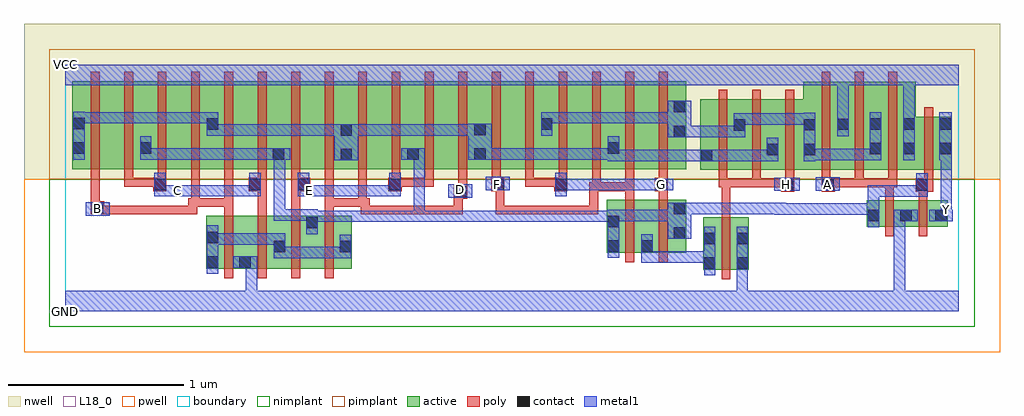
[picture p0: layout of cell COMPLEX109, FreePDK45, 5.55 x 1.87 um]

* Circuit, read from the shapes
.subckt COMPLEX109 A B C D E F G GND H VCC Y
M1 GND B n1 VSUBS nfet w=0.3u l=0.05u
M2 n1 C GND VSUBS nfet w=0.3u l=0.05u
M3 n2 E n1 VSUBS nfet w=0.3u l=0.05u
M4 n1 D n2 VSUBS nfet w=0.3u l=0.05u
M5 n3 F n2 VSUBS nfet w=0.3u l=0.05u
M6 n2 G n3 VSUBS nfet w=0.3u l=0.05u
M7 GND H n3 VSUBS nfet w=0.3u l=0.05u
M8 GND A n2 VSUBS nfet w=0.15u l=0.05u
M9 Y n2 GND VSUBS nfet w=0.15u l=0.05u
M10 n4 B n5 n6 pfet w=0.5u l=0.05u
M11 n2 C n4 n6 pfet w=0.5u l=0.05u
M12 n7 C n2 n6 pfet w=0.5u l=0.05u
M13 n5 B n7 n6 pfet w=0.5u l=0.05u
M14 n8 B n5 n6 pfet w=0.5u l=0.05u
M15 n2 C n8 n6 pfet w=0.5u l=0.05u
M16 n9 E n2 n6 pfet w=0.5u l=0.05u
M17 n5 D n9 n6 pfet w=0.5u l=0.05u
M18 n10 D n5 n6 pfet w=0.5u l=0.05u
M19 n2 E n10 n6 pfet w=0.5u l=0.05u
M20 n11 E n2 n6 pfet w=0.5u l=0.05u
M21 n5 D n11 n6 pfet w=0.5u l=0.05u
M22 n12 F n5 n6 pfet w=0.5u l=0.05u
M23 n13 G n12 n6 pfet w=0.5u l=0.05u
M24 n14 G n13 n6 pfet w=0.5u l=0.05u
M25 n5 F n14 n6 pfet w=0.5u l=0.05u
M26 n15 F n5 n6 pfet w=0.5u l=0.05u
M27 n13 G n15 n6 pfet w=0.5u l=0.05u
M28 n13 H n5 n6 pfet w=0.4u l=0.05u m=3
M29 VCC A n13 n6 pfet w=0.5u l=0.05u m=3
M30 Y n2 VCC n6 pfet w=0.3u l=0.05u
.ends

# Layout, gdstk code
import gdstk
lib = gdstk.Library(unit=1e-6, precision=1e-09)
def R(c, l, rs):  # rectangles x0, y0, x1, y1
    for r in rs: c.add(gdstk.rectangle(r[:2], r[2:], *l))
def A(c, l, x, y, w, h, nx, ny, dx, dy):  # array of equal rectangles
    R(c, l, [(x+i*dx, y+j*dy, x+i*dx+w, y+j*dy+h) for i in range(nx) for j in range(ny)])
active = (1, 0)
pwell = (2, 0)
nwell = (3, 0)
nimplant = (4, 0)
pimplant = (5, 0)
poly = (9, 0)
contact = (10, 0)
metal1 = (11, 0)
L18_0 = (18, 0)
boundary = (235, 0)

complex109 = lib.new_cell('COMPLEX109')
A(complex109, active, 0.04, 0.807, 0.225, 0.5, 3, 1, 0.38, 0)
A(complex109, active, 0.8, 0.807, 0.075, 0.393, 3, 1, 0.76, 0)
A(complex109, active, 1.405, 0.807, 0.23, 0.5, 5, 1, 0.38, 0)
A(complex109, active, 1.56, 0.807, 0.225, 0.5, 5, 1, 0.38, 0)
R(complex109, active, [(3.627,0.235,3.702,0.535), (3.627,0.235,3.887,0.535), (3.812,0.235,3.887,0.535), (0.8,0.242,0.875,0.542), (0.8,0.242,1.06,0.542), (0.985,0.242,1.255,0.542), (0.985,0.242,1.06,0.392), (1.18,0.242,1.44,0.542), (1.18,0.242,1.255,0.497), (1.365,0.242,1.63,0.542), (1.555,0.242,1.63,0.542), (1.365,0.33,1.44,0.542), (3.08,0.332,3.155,0.632), (3.08,0.332,3.345,0.632), (3.27,0.332,3.53,0.632), (3.27,0.332,3.345,0.407), (3.455,0.332,3.53,0.632), (4.557,0.48,4.817,0.63), (4.742,0.48,5.017,0.63), (4.942,0.482,5.017,0.63), (4.557,0.507,4.632,0.63), (4.742,0.507,4.817,0.63), (3.61,0.805,3.685,1.07), (3.61,0.805,3.87,1.205), (3.795,0.805,3.87,1.2), (3.795,0.805,4.06,1.205), (3.985,0.805,4.27,1.205), (3.985,0.805,4.06,1.07), (4.195,0.805,4.46,1.305), (4.195,0.805,4.27,1.2), (4.385,0.805,4.46,1.305), (4.385,0.805,4.645,1.305), (4.57,0.805,4.835,1.305), (4.57,0.805,4.645,1.2), (4.76,0.805,5.04,1.105), (4.76,0.805,4.835,1.305), (4.965,0.805,5.04,1.105), (0.04,0.807,0.145,1.2), (0.265,0.807,0.495,1.307), (0.42,0.807,0.495,1.07), (0.645,0.807,0.875,1.307), (1.025,0.807,1.25,1.307), (1.175,0.807,1.25,1.07), (1.175,0.807,1.405,1.307), (1.94,0.807,2.015,1.07), (2.7,0.807,2.775,1.2), (3.08,0.807,3.155,1.07), (3.305,0.807,3.53,1.307), (3.455,0.807,3.53,1.2)])
R(complex109, pwell, [(-0.235,-0.235,5.315,0.75)])
R(complex109, nwell, [(-0.235,0.75,5.315,1.635)])
R(complex109, nimplant, [(-0.09,-0.09,5.17,0.75)])
R(complex109, pimplant, [(-0.09,0.75,5.17,1.49)])
A(complex109, poly, 0.905, 0.187, 0.05, 0.41, 4, 1, 0.19, 0)
A(complex109, poly, 3.715, 0.705, 0.05, 0.095, 3, 1, 0.19, 0)
A(complex109, poly, 4.3, 0.705, 0.05, 0.095, 3, 1, 0.19, 0)
A(complex109, poly, 2.425, 0.707, 0.05, 0.095, 3, 1, 0.19, 0)
A(complex109, poly, 3.715, 0.75, 0.05, 0.51, 3, 1, 0.19, 0)
A(complex109, poly, 4.3, 0.75, 0.05, 0.61, 3, 1, 0.19, 0)
A(complex109, poly, 0.145, 0.752, 0.05, 0.61, 18, 1, 0.19, 0)
R(complex109, poly, [(3.732,0.18,3.782,0.59), (3.185,0.277,3.235,0.687), (3.375,0.277,3.425,0.687), (4.662,0.425,4.712,0.685), (4.852,0.425,4.902,0.685), (3.732,0.54,3.782,0.755), (0.905,0.547,0.955,0.642), (1.095,0.547,1.145,0.732), (1.285,0.547,1.335,0.732), (1.475,0.547,1.525,0.642), (0.145,0.55,0.22,0.625), (0.17,0.55,0.22,0.6), (0.17,0.55,0.22,0.6), (0.17,0.55,0.22,0.6), (0.17,0.55,0.22,0.6), (0.17,0.55,0.22,0.6), (0.17,0.55,0.22,0.6), (0.17,0.55,0.352,0.6), (0.302,0.55,0.352,0.6), (0.302,0.55,0.617,0.6), (0.567,0.55,0.617,0.6), (0.567,0.55,0.617,0.6), (0.567,0.55,0.617,0.6), (0.567,0.55,0.75,0.6), (0.7,0.55,0.75,0.6), (0.7,0.55,0.75,0.6), (0.7,0.55,0.75,0.6), (0.7,0.55,0.75,0.6), (0.7,0.55,0.75,0.6), (0.7,0.55,0.75,0.642), (1.68,0.55,1.73,0.6), (1.68,0.55,1.73,0.6), (1.68,0.55,1.73,0.6), (1.68,0.55,1.862,0.6), (1.68,0.55,1.73,0.642), (1.812,0.55,1.862,0.6), (1.812,0.55,2.127,0.6), (2.077,0.55,2.127,0.6), (2.077,0.55,2.127,0.6), (2.077,0.55,2.127,0.6), (2.077,0.55,2.26,0.6), (2.21,0.55,2.26,0.6), (2.21,0.55,2.26,0.6), (2.21,0.55,2.26,0.6), (2.21,0.55,2.26,0.6), (2.21,0.55,2.26,0.6), (2.21,0.55,2.26,0.69), (2.447,0.55,2.497,0.6), (2.447,0.55,2.497,0.6), (2.447,0.55,2.497,0.6), (2.447,0.55,2.497,0.732), (2.447,0.55,2.665,0.6), (2.615,0.55,2.665,0.6), (2.615,0.55,2.665,0.6), (2.615,0.55,2.665,0.6), (2.615,0.55,2.797,0.6), (2.747,0.55,2.797,0.6), (2.747,0.55,3.03,0.6), (2.98,0.55,3.03,0.6), (2.98,0.55,3.03,0.6), (2.98,0.55,3.03,0.6), (2.98,0.55,3.03,0.732), (0.145,0.575,0.195,0.802), (0.7,0.592,0.765,0.642), (0.715,0.592,0.955,0.642), (0.715,0.592,0.765,0.802), (0.905,0.592,0.955,0.642), (0.905,0.592,0.955,0.642), (0.905,0.592,0.955,0.642), (0.905,0.592,0.955,0.802), (1.475,0.592,1.525,0.642), (1.475,0.592,1.525,0.642), (1.475,0.592,1.525,0.642), (1.475,0.592,1.715,0.642), (1.475,0.592,1.525,0.802), (1.665,0.592,1.715,0.642), (1.665,0.592,1.715,0.642), (1.665,0.592,1.73,0.642), (1.665,0.592,1.715,0.802), (4.662,0.635,4.712,0.755), (4.852,0.635,4.902,0.73), (3.185,0.637,3.235,0.732), (3.375,0.637,3.425,0.732), (2.21,0.64,2.285,0.715), (2.235,0.665,2.285,0.802), (4.07,0.68,4.145,0.755), (4.3,0.68,4.375,0.755), (4.835,0.68,4.935,0.755), (0.5,0.682,0.575,0.757), (1.042,0.682,1.145,0.757), (1.285,0.682,1.392,0.757), (1.837,0.682,1.912,0.757), (2.422,0.682,2.497,0.757), (2.447,0.682,2.497,0.732), (2.447,0.682,2.497,0.732), (2.78,0.682,2.855,0.757), (2.98,0.682,3.03,0.732), (2.98,0.682,3.03,0.732), (2.98,0.682,3.045,0.732), (2.995,0.682,3.045,0.802), (2.995,0.682,3.235,0.732), (3.185,0.682,3.235,0.802), (3.185,0.682,3.235,0.732), (3.185,0.682,3.235,0.732), (3.185,0.682,3.235,0.732), (3.352,0.682,3.427,0.757), (3.715,0.705,3.782,0.755), (3.732,0.705,3.955,0.755), (3.905,0.705,3.955,0.755), (3.905,0.705,3.955,0.755), (3.905,0.705,3.955,0.755), (3.905,0.705,4.12,0.755), (4.07,0.705,4.12,0.755), (4.07,0.705,4.12,0.755), (4.325,0.705,4.54,0.755), (4.49,0.705,4.54,0.755), (4.49,0.705,4.54,0.755), (4.49,0.705,4.54,0.755), (4.49,0.705,4.712,0.755), (4.662,0.705,4.712,0.755), (4.662,0.705,4.712,0.755), (4.662,0.705,4.73,0.755), (4.885,0.705,4.935,0.8), (0.335,0.707,0.385,0.802), (0.335,0.707,0.385,0.757), (0.335,0.707,0.55,0.757), (0.5,0.707,0.55,0.757), (0.5,0.707,0.55,0.757), (0.525,0.707,0.575,0.802), (1.095,0.707,1.145,0.802), (1.285,0.707,1.335,0.802), (1.855,0.707,1.905,0.802), (1.862,0.707,1.912,0.757), (1.862,0.707,1.912,0.757), (1.862,0.707,2.095,0.757), (2.045,0.707,2.095,0.802), (2.045,0.707,2.095,0.757), (2.615,0.707,2.665,0.757), (2.615,0.707,2.665,0.757), (2.615,0.707,2.665,0.757), (2.615,0.707,2.83,0.757), (3.375,0.707,3.425,0.802), (4.885,0.75,4.935,1.16)])
R(complex109, contact, [(3.632,0.24,3.697,0.305), (3.817,0.24,3.882,0.305), (0.805,0.247,0.87,0.312), (0.99,0.247,1.055,0.312), (1.185,0.335,1.25,0.4), (1.56,0.335,1.625,0.4), (3.085,0.337,3.15,0.402), (3.275,0.337,3.34,0.402), (3.632,0.38,3.697,0.445), (3.817,0.38,3.882,0.445), (0.805,0.387,0.87,0.452), (3.46,0.412,3.525,0.477), (1.37,0.472,1.435,0.537), (3.085,0.477,3.15,0.542), (4.562,0.512,4.627,0.577), (4.747,0.512,4.812,0.577), (4.947,0.512,5.012,0.577), (3.46,0.552,3.525,0.617), (0.15,0.555,0.215,0.62), (2.215,0.645,2.28,0.71), (4.075,0.685,4.14,0.75), (4.305,0.685,4.37,0.75), (4.84,0.685,4.905,0.75), (0.505,0.687,0.57,0.752), (1.047,0.687,1.112,0.752), (1.322,0.687,1.387,0.752), (1.842,0.687,1.907,0.752), (2.427,0.687,2.492,0.752), (2.785,0.687,2.85,0.752), (3.357,0.687,3.422,0.752), (3.615,0.852,3.68,0.917), (1.565,0.857,1.63,0.922), (1.18,0.86,1.245,0.925), (1.945,0.86,2.01,0.925), (2.325,0.86,2.39,0.925), (3.99,0.887,4.055,0.952), (4.2,0.887,4.265,0.952), (4.575,0.892,4.64,0.957), (4.765,0.892,4.83,0.957), (4.97,0.892,5.035,0.957), (0.045,0.895,0.11,0.96), (0.425,0.895,0.49,0.96), (3.085,0.895,3.15,0.96), (3.46,0.99,3.525,1.055), (1.565,0.997,1.63,1.062), (2.325,1,2.39,1.065), (3.8,1.025,3.865,1.09), (4.2,1.027,4.265,1.092), (4.39,1.03,4.455,1.095), (0.805,1.032,0.87,1.097), (2.705,1.032,2.77,1.097), (4.575,1.032,4.64,1.097), (4.765,1.032,4.83,1.097), (4.97,1.032,5.035,1.097), (0.045,1.035,0.11,1.1), (3.46,1.13,3.525,1.195)])
R(complex109, metal1, [(0,0,5.08,0.115), (1.025,0.05,1.09,0.115), (1.025,0.05,1.09,0.115), (1.025,0.05,1.09,0.115), (1.025,0.05,1.09,0.115), (1.025,0.05,1.09,0.312), (3.817,0.05,3.882,0.115), (3.817,0.05,3.882,0.115), (3.817,0.05,3.882,0.27), (4.712,0.05,4.777,0.115), (4.712,0.05,4.777,0.115), (4.712,0.05,4.777,0.577), (3.632,0.205,3.697,0.48), (3.817,0.205,3.882,0.27), (3.817,0.205,3.882,0.27), (3.817,0.205,3.882,0.48), (0.805,0.212,0.87,0.487), (0.955,0.247,1.09,0.312), (3.275,0.275,3.685,0.34), (3.275,0.275,3.34,0.367), (3.62,0.275,3.685,0.34), (3.62,0.275,3.697,0.34), (1.185,0.3,1.25,0.435), (1.185,0.3,1.457,0.365), (1.392,0.3,1.457,0.365), (1.392,0.3,1.457,0.365), (1.392,0.3,1.457,0.365), (1.392,0.3,1.625,0.365), (1.56,0.3,1.625,0.365), (1.56,0.3,1.625,0.365), (1.56,0.3,1.625,0.435), (3.085,0.302,3.15,0.577), (3.275,0.302,3.34,0.367), (3.275,0.302,3.34,0.437), (1.185,0.37,1.25,0.435), (1.185,0.37,1.25,0.442), (0.805,0.377,0.87,0.442), (0.805,0.377,0.87,0.442), (0.805,0.377,1.02,0.442), (0.955,0.377,1.02,0.442), (0.955,0.377,1.25,0.442), (3.425,0.412,3.56,0.617), (1.37,0.437,1.435,0.572), (4.562,0.477,4.627,0.612), (1.37,0.507,1.435,0.572), (1.37,0.507,1.435,0.58), (1.37,0.507,1.595,0.572), (1.53,0.507,1.595,0.572), (1.53,0.507,1.595,0.572), (1.53,0.507,1.595,0.572), (1.53,0.507,1.77,0.572), (1.705,0.507,1.77,0.572), (1.705,0.507,1.837,0.572), (1.772,0.507,1.837,0.572), (1.772,0.507,1.907,0.572), (1.842,0.507,1.907,0.572), (1.842,0.507,2.045,0.572), (1.98,0.507,2.045,0.572), (1.98,0.507,2.045,0.572), (1.98,0.507,2.045,0.572), (1.98,0.507,2.182,0.572), (1.98,0.507,2.045,0.925), (2.117,0.507,2.182,0.572), (2.117,0.507,2.182,0.572), (2.117,0.507,2.182,0.572), (2.117,0.507,2.32,0.572), (2.255,0.507,2.32,0.572), (2.255,0.507,2.32,0.572), (2.255,0.507,2.32,0.572), (2.255,0.507,2.562,0.572), (2.497,0.507,2.562,0.572), (2.497,0.507,2.562,0.572), (2.497,0.507,2.562,0.572), (2.497,0.507,2.875,0.572), (2.81,0.507,2.875,0.572), (2.81,0.507,2.875,0.572), (2.81,0.507,2.875,0.572), (2.81,0.507,3.012,0.572), (2.947,0.507,3.012,0.572), (2.947,0.507,3.012,0.572), (2.947,0.507,3.012,0.572), (2.947,0.507,3.15,0.572), (3.085,0.512,3.15,0.577), (3.085,0.512,3.15,0.577), (3.085,0.512,3.352,0.577), (3.287,0.512,3.352,0.577), (3.287,0.512,3.352,0.577), (3.287,0.512,3.352,0.577), (3.287,0.512,3.49,0.577), (4.712,0.512,4.777,0.577), (4.712,0.512,4.777,0.577), (4.712,0.512,4.777,0.577), (4.712,0.512,4.777,0.577), (4.712,0.512,4.847,0.577), (4.912,0.512,5.047,0.577), (4.977,0.512,5.042,0.577), (4.977,0.512,5.042,0.647), (1.185,0.515,1.25,0.58), (1.185,0.515,1.435,0.58), (1.185,0.515,1.25,0.925), (0.115,0.542,0.252,0.62), (4.032,0.547,4.097,0.612), (4.032,0.547,4.097,0.612), (4.032,0.547,4.235,0.612), (4.032,0.547,4.097,0.617), (4.17,0.547,4.235,0.612), (4.17,0.547,4.235,0.612), (4.17,0.547,4.235,0.612), (4.17,0.547,4.402,0.612), (4.337,0.547,4.402,0.612), (4.337,0.547,4.402,0.612), (4.337,0.547,4.402,0.612), (4.337,0.547,4.627,0.612), (4.562,0.547,4.627,0.715), (3.495,0.552,3.56,0.617), (3.495,0.552,3.56,0.617), (3.495,0.552,3.822,0.617), (3.757,0.552,3.822,0.617), (3.757,0.552,3.865,0.617), (3.8,0.552,3.865,0.617), (3.8,0.552,3.96,0.617), (3.895,0.552,3.96,0.617), (3.895,0.552,4.097,0.617), (4.977,0.582,5.042,0.922), (2.177,0.645,2.315,0.722), (4.562,0.65,4.627,0.715), (4.562,0.65,4.627,0.715), (4.562,0.65,4.627,0.715), (4.562,0.65,4.765,0.715), (4.7,0.65,4.765,0.715), (4.7,0.65,4.905,0.715), (4.84,0.65,4.905,0.785), (0.505,0.652,0.57,0.787), (0.505,0.652,0.637,0.717), (0.572,0.652,0.707,0.717), (0.642,0.652,0.707,0.717), (0.642,0.652,0.707,0.717), (0.642,0.652,0.882,0.717), (0.817,0.652,0.882,0.717), (0.817,0.652,0.882,0.717), (0.817,0.652,0.882,0.717), (0.817,0.652,1.02,0.717), (0.955,0.652,1.02,0.717), (0.955,0.652,1.112,0.717), (1.047,0.652,1.112,0.787), (1.322,0.652,1.387,0.717), (1.322,0.652,1.387,0.787), (1.322,0.652,1.457,0.717), (1.392,0.652,1.632,0.717), (1.567,0.652,1.632,0.717), (1.567,0.652,1.632,0.717), (1.567,0.652,1.632,0.717), (1.567,0.652,1.77,0.717), (1.705,0.652,1.77,0.717), (1.705,0.652,1.802,0.717), (1.737,0.652,1.802,0.717), (1.737,0.652,1.907,0.717), (1.842,0.652,1.907,0.787), (2.785,0.652,2.85,0.787), (4.032,0.685,4.175,0.757), (4.267,0.685,4.405,0.762), (2.392,0.687,2.527,0.765), (2.785,0.687,3.012,0.752), (2.947,0.687,3.012,0.752), (2.947,0.687,3.012,0.752), (2.947,0.687,3.012,0.752), (2.947,0.687,3.15,0.752), (3.085,0.687,3.15,0.752), (3.085,0.687,3.15,0.752), (3.085,0.687,3.15,0.752), (3.085,0.687,3.287,0.752), (3.222,0.687,3.287,0.752), (3.222,0.687,3.387,0.752), (3.322,0.687,3.457,0.752), (3.085,0.852,3.352,0.917), (3.085,0.852,3.15,0.925), (3.287,0.852,3.352,0.917), (3.287,0.852,3.352,0.917), (3.287,0.852,3.352,0.917), (3.287,0.852,3.645,0.917), (3.58,0.852,3.645,0.917), (3.58,0.852,3.645,0.917), (3.58,0.852,3.715,0.917), (3.65,0.852,3.822,0.917), (3.757,0.852,3.822,0.917), (3.757,0.852,3.852,0.917), (3.787,0.852,3.852,0.917), (3.787,0.852,3.96,0.917), (3.895,0.852,3.96,0.917), (3.895,0.852,4.055,0.917), (3.99,0.852,4.055,0.987), (4.2,0.852,4.265,1.127), (1.53,0.857,1.665,1.062), (4.2,0.857,4.265,0.922), (4.2,0.857,4.265,0.922), (4.2,0.857,4.49,0.922), (4.425,0.857,4.49,0.922), (4.425,0.857,4.49,0.922), (4.425,0.857,4.49,0.922), (4.425,0.857,4.64,0.922), (4.575,0.857,4.64,1.132), (4.765,0.857,4.83,1.132), (4.97,0.857,5.042,1.132), (0.045,0.86,0.11,1.135), (0.425,0.86,0.49,0.925), (0.425,0.86,0.49,0.925), (0.425,0.86,0.49,0.995), (0.425,0.86,0.732,0.925), (0.667,0.86,0.732,0.925), (0.667,0.86,0.732,0.925), (0.667,0.86,0.732,0.925), (0.667,0.86,0.882,0.925), (0.817,0.86,0.882,0.925), (0.817,0.86,0.882,0.925), (0.817,0.86,0.882,0.925), (0.817,0.86,1.02,0.925), (0.955,0.86,1.02,0.925), (0.955,0.86,1.02,0.925), (0.955,0.86,1.02,0.925), (0.955,0.86,1.21,0.925), (1.145,0.86,1.28,0.925), (1.185,0.86,1.25,0.925), (1.185,0.86,1.25,0.925), (1.91,0.86,2.045,0.925), (1.98,0.86,2.045,0.925), (1.98,0.86,2.045,0.925), (2.29,0.86,2.425,1.065), (2.36,0.86,2.425,0.925), (2.36,0.86,2.425,0.925), (2.36,0.86,2.632,0.925), (2.567,0.86,2.632,0.925), (2.567,0.86,2.632,0.925), (2.567,0.86,2.632,0.925), (2.567,0.86,2.77,0.925), (2.705,0.86,2.77,0.925), (2.705,0.86,2.77,0.925), (2.705,0.86,2.77,0.925), (2.705,0.86,3.012,0.925), (2.947,0.86,3.012,0.925), (2.947,0.86,3.012,0.925), (2.947,0.86,3.012,0.925), (2.947,0.86,3.15,0.925), (3.085,0.86,3.15,0.925), (3.085,0.86,3.15,0.995), (3.425,0.99,3.56,1.195), (3.495,0.99,3.56,1.055), (3.495,0.99,3.56,1.055), (3.495,0.99,3.822,1.055), (3.757,0.99,3.822,1.055), (3.757,0.99,3.865,1.055), (3.8,0.99,3.865,1.125), (4.39,0.995,4.455,1.13), (0.805,0.997,0.87,1.132), (0.805,0.997,0.882,1.062), (0.817,0.997,0.882,1.062), (0.817,0.997,1.072,1.062), (1.007,0.997,1.072,1.062), (1.007,0.997,1.072,1.062), (1.007,0.997,1.072,1.062), (1.007,0.997,1.25,1.062), (1.185,0.997,1.25,1.062), (1.185,0.997,1.387,1.062), (1.322,0.997,1.387,1.062), (1.322,0.997,1.387,1.062), (1.322,0.997,1.387,1.062), (1.322,0.997,1.595,1.062), (1.53,0.997,1.595,1.062), (1.53,0.997,1.595,1.062), (1.6,0.997,1.77,1.062), (1.705,0.997,1.77,1.062), (1.705,0.997,1.802,1.062), (1.737,0.997,1.802,1.062), (1.737,0.997,1.907,1.062), (1.842,0.997,1.907,1.062), (1.842,0.997,1.975,1.062), (1.91,0.997,1.975,1.062), (1.91,0.997,2.045,1.062), (1.98,0.997,2.045,1.062), (1.98,0.997,2.182,1.062), (2.117,0.997,2.182,1.062), (2.117,0.997,2.182,1.062), (2.117,0.997,2.182,1.062), (2.117,0.997,2.355,1.062), (2.705,0.997,2.77,1.132), (3.8,1.06,3.96,1.125), (3.895,1.06,3.96,1.125), (3.895,1.06,4.097,1.125), (4.032,1.06,4.097,1.125), (4.032,1.06,4.097,1.125), (4.032,1.06,4.097,1.125), (4.032,1.06,4.265,1.125), (4.39,1.065,4.455,1.35), (0.045,1.067,0.11,1.132), (0.045,1.067,0.11,1.132), (0.045,1.067,0.247,1.132), (0.182,1.067,0.247,1.132), (0.182,1.067,0.247,1.132), (0.182,1.067,0.247,1.132), (0.182,1.067,0.5,1.132), (0.435,1.067,0.5,1.132), (0.435,1.067,0.5,1.132), (0.435,1.067,0.5,1.132), (0.435,1.067,0.732,1.132), (0.667,1.067,0.732,1.132), (0.667,1.067,0.732,1.132), (0.667,1.067,0.732,1.132), (0.667,1.067,0.87,1.132), (2.705,1.067,2.77,1.132), (2.705,1.067,2.77,1.132), (2.705,1.067,3.012,1.132), (2.947,1.067,3.012,1.132), (2.947,1.067,3.012,1.132), (2.947,1.067,3.012,1.132), (2.947,1.067,3.15,1.132), (3.085,1.067,3.15,1.132), (3.085,1.067,3.15,1.132), (3.085,1.067,3.15,1.132), (3.085,1.067,3.287,1.132), (3.222,1.067,3.287,1.132), (3.222,1.067,3.287,1.132), (3.222,1.067,3.287,1.132), (3.222,1.067,3.49,1.132), (4.765,1.067,4.83,1.35), (0,1.285,5.08,1.4)])
R(complex109, L18_0, [(0,0,5.08,0.115), (1.025,0.05,1.09,0.115), (1.025,0.05,1.09,0.115), (1.025,0.05,1.09,0.115), (1.025,0.05,1.09,0.115), (1.025,0.05,1.09,0.312), (3.817,0.05,3.882,0.115), (3.817,0.05,3.882,0.115), (3.817,0.05,3.882,0.27), (4.712,0.05,4.777,0.115), (4.712,0.05,4.777,0.115), (4.712,0.05,4.777,0.577), (3.817,0.205,3.882,0.27), (3.817,0.205,3.882,0.27), (3.817,0.205,3.882,0.48), (0.955,0.247,1.09,0.312), (4.712,0.512,4.847,0.577), (4.712,0.512,4.777,0.577), (4.712,0.512,4.777,0.577), (4.712,0.512,4.777,0.577), (4.712,0.512,4.777,0.577), (4.912,0.512,5.047,0.577), (4.977,0.512,5.042,0.647), (4.977,0.512,5.042,0.577), (0.115,0.542,0.252,0.62), (4.977,0.547,5.042,0.612), (0.152,0.552,0.217,0.617), (4.977,0.582,5.042,0.922), (2.177,0.645,2.315,0.722), (0.505,0.652,0.57,0.787), (0.505,0.652,0.637,0.717), (0.572,0.652,0.707,0.717), (0.607,0.652,0.672,0.717), (0.642,0.652,0.707,0.717), (0.642,0.652,0.707,0.717), (0.642,0.652,0.882,0.717), (0.817,0.652,0.882,0.717), (0.817,0.652,0.882,0.717), (0.817,0.652,0.882,0.717), (0.817,0.652,1.02,0.717), (0.955,0.652,1.02,0.717), (0.955,0.652,1.112,0.717), (1.047,0.652,1.112,0.787), (1.322,0.652,1.387,0.787), (1.322,0.652,1.457,0.717), (1.322,0.652,1.387,0.717), (1.357,0.652,1.422,0.717), (1.392,0.652,1.632,0.717), (1.567,0.652,1.632,0.717), (1.567,0.652,1.632,0.717), (1.567,0.652,1.632,0.717), (1.567,0.652,1.77,0.717), (1.705,0.652,1.77,0.717), (1.705,0.652,1.802,0.717), (1.737,0.652,1.802,0.717), (1.737,0.652,1.907,0.717), (1.842,0.652,1.907,0.787), (2.785,0.652,2.85,0.787), (2.212,0.657,2.277,0.722), (4.032,0.685,4.175,0.757), (4.267,0.685,4.405,0.762), (2.392,0.687,2.527,0.765), (2.427,0.687,2.492,0.752), (2.785,0.687,3.012,0.752), (2.947,0.687,3.012,0.752), (2.947,0.687,3.012,0.752), (2.947,0.687,3.012,0.752), (2.947,0.687,3.15,0.752), (3.085,0.687,3.15,0.752), (3.085,0.687,3.15,0.752), (3.085,0.687,3.15,0.752), (3.085,0.687,3.287,0.752), (3.222,0.687,3.287,0.752), (3.222,0.687,3.387,0.752), (3.322,0.687,3.457,0.752), (3.357,0.687,3.422,0.752), (4.067,0.687,4.132,0.752), (4.302,0.687,4.367,0.752), (4.765,0.857,4.83,1.132), (4.97,0.857,5.042,1.132), (4.39,0.995,4.455,1.13), (4.39,1.065,4.455,1.35), (4.765,1.067,4.83,1.35), (0,1.285,5.08,1.4)])
R(complex109, boundary, [(0,0,5.08,1.4)])
complex109.add(gdstk.Label('A', (4.335,0.72), layer=11, texttype=0))
complex109.add(gdstk.Label('B', (0.185,0.585), layer=11, texttype=0))
complex109.add(gdstk.Label('C', (0.64,0.685), layer=11, texttype=0))
complex109.add(gdstk.Label('D', (2.245,0.69), layer=11, texttype=0))
complex109.add(gdstk.Label('E', (1.39,0.685), layer=11, texttype=0))
complex109.add(gdstk.Label('F', (2.46,0.72), layer=11, texttype=0))
complex109.add(gdstk.Label('G', (3.39,0.72), layer=11, texttype=0))
complex109.add(gdstk.Label('H', (4.1,0.72), layer=11, texttype=0))
complex109.add(gdstk.Label('Y', (5.01,0.58), layer=11, texttype=0))
complex109.add(gdstk.Label('VCC', (0,1.4), layer=11, texttype=0))
complex109.add(gdstk.Label('GND', (0,0), layer=11, texttype=0))

lib.write_gds('COMPLEX109.gds')
